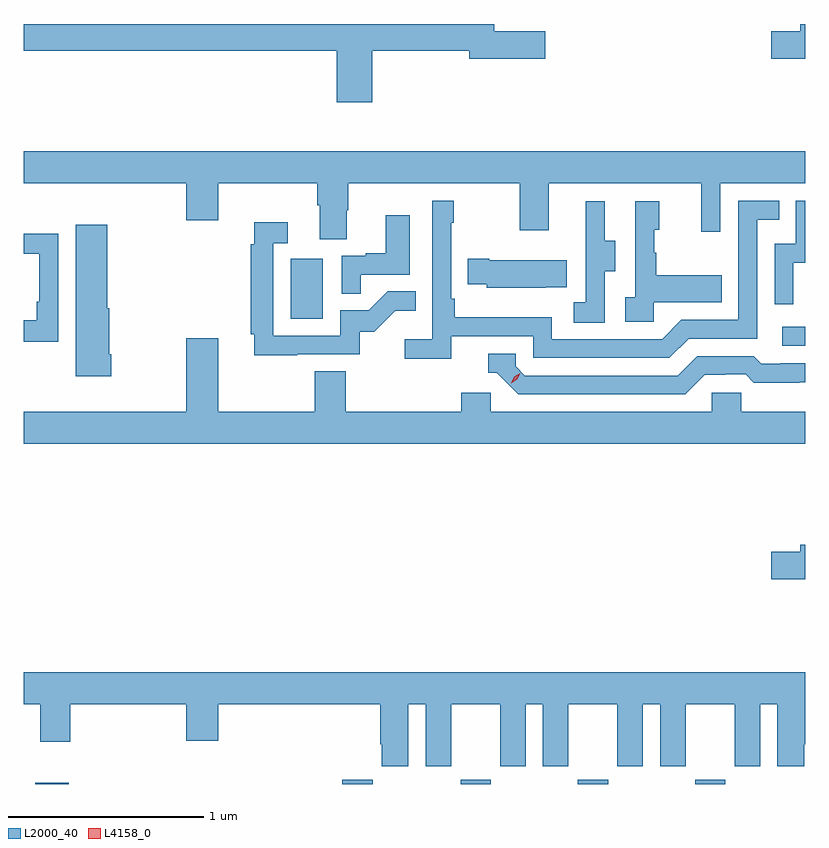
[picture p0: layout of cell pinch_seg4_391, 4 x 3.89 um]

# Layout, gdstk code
import gdstk
lib = gdstk.Library(unit=1e-6, precision=1e-09)
def R(c, l, rs):  # rectangles x0, y0, x1, y1
    for r in rs: c.add(gdstk.rectangle(r[:2], r[2:], *l))
def A(c, l, x, y, w, h, nx, ny, dx, dy):  # array of equal rectangles
    R(c, l, [(x+i*dx, y+j*dy, x+i*dx+w, y+j*dy+h) for i in range(nx) for j in range(ny)])
def P(c, l, *ps):  # polygons
    for p in ps: c.add(gdstk.Polygon(p, *l))
L2000_40 = (2000, 40)
L4158_0 = (4158, 0)

pinch_seg4_391 = lib.new_cell('pinch_seg4_391')
A(pinch_seg4_391, L2000_40, 957.619, 781.759, 0.155, 0.021, 3, 1, 0.6, 0)
R(pinch_seg4_391, L2000_40, [(955.442,781.759,955.613,781.765), (957.014,781.759,957.169,781.78), (959.265,784.002,959.383,784.098), (956.75,784.14,956.914,784.447)])
P(pinch_seg4_391, L2000_40, [(959.383,785.648),(959.357,785.648),(959.357,785.612),(959.208,785.612),(959.208,785.47),(959.383,785.47)],
  [(957.167,785.512),(957.662,785.512),(957.662,785.47),(958.051,785.47),(958.051,785.612),(957.79,785.612),(957.79,785.648),(955.383,785.648),(955.383,785.512),(956.984,785.512),(956.984,785.247),(957.167,785.247)],
  [(957.037,784.695),(957.045,784.695),(957.045,784.832),(957.922,784.832),(957.922,784.593),(958.069,784.593),(958.069,784.832),(958.85,784.832),(958.85,784.584),(958.947,784.584),(958.947,784.832),(959.383,784.832),(959.383,784.996),(955.383,784.996),(955.383,784.832),(956.216,784.832),(956.216,784.644),(956.38,784.644),(956.38,784.832),(956.885,784.832),(956.885,784.72),(956.897,784.72),(956.897,784.546),(957.037,784.546)],
  [(957.572,784.05),(957.99,784.05),(957.99,783.939),(958.687,783.939),(958.786,784.038),(959.136,784.038),(959.136,784.647),(959.249,784.647),(959.249,784.743),(959.04,784.743),(959.04,784.134),(958.749,784.134),(958.65,784.035),(958.086,784.035),(958.086,784.147),(957.59,784.147),(957.59,784.243),(957.57,784.243),(957.57,784.631),(957.583,784.631),(957.583,784.744),(957.474,784.744),(957.474,784.036),(957.333,784.036),(957.333,783.934),(957.572,783.934)],
  [(959.322,784.427),(959.383,784.427),(959.383,784.743),(959.334,784.743),(959.334,784.524),(959.226,784.524),(959.226,784.215),(959.322,784.215)],
  [(958.608,784.223),(958.955,784.223),(958.955,784.363),(958.621,784.363),(958.621,784.478),(958.611,784.478),(958.611,784.596),(958.636,784.596),(958.636,784.741),(958.512,784.741),(958.512,784.25),(958.461,784.25),(958.461,784.125),(958.608,784.125)],
  [(958.356,784.384),(958.411,784.384),(958.411,784.539),(958.357,784.539),(958.357,784.741),(958.259,784.741),(958.259,784.527),(958.26,784.527),(958.26,784.223),(958.197,784.223),(958.197,784.12),(958.356,784.12)],
  [(957.107,784.365),(957.358,784.365),(957.358,784.669),(957.236,784.669),(957.236,784.474),(957.133,784.474),(957.133,784.461),(957.012,784.461),(957.012,784.267),(957.107,784.267)],
  [(956.783,783.957),(957.102,783.957),(957.102,784.074),(957.178,784.074),(957.285,784.181),(957.389,784.181),(957.389,784.28),(957.246,784.28),(957.148,784.182),(957.003,784.182),(957.003,784.053),(956.661,784.053),(956.661,784.527),(956.734,784.527),(956.734,784.633),(956.564,784.633),(956.564,784.52),(956.545,784.52),(956.545,784.06),(956.564,784.06),(956.564,783.952),(956.783,783.952)],
  [(955.83,783.958),(955.822,783.958),(955.822,784.194),(955.81,784.194),(955.81,784.621),(955.649,784.621),(955.649,783.846),(955.83,783.846)],
  [(955.56,784.574),(955.383,784.574),(955.383,784.473),(955.464,784.473),(955.464,784.228),(955.451,784.228),(955.451,784.132),(955.383,784.132),(955.383,784.023),(955.56,784.023)],
  [(958.055,784.301),(958.163,784.301),(958.163,784.438),(957.766,784.438),(957.766,784.446),(957.655,784.446),(957.655,784.316),(957.753,784.316),(957.753,784.298),(958.055,784.298)],
  [(959.383,783.664),(959.055,783.664),(959.055,783.762),(958.905,783.762),(958.905,783.664),(957.774,783.664),(957.774,783.762),(957.623,783.762),(957.623,783.664),(957.032,783.664),(957.032,783.872),(956.872,783.872),(956.872,783.664),(956.38,783.664),(956.38,784.039),(956.216,784.039),(956.216,783.664),(955.383,783.664),(955.383,783.5),(959.383,783.5)],
  [(958.867,783.852),(958.974,783.852),(958.974,783.855),(959.077,783.855),(959.119,783.813),(959.352,783.813),(959.352,783.815),(959.383,783.815),(959.383,783.912),(959.257,783.912),(959.257,783.909),(959.158,783.909),(959.119,783.948),(958.83,783.948),(958.731,783.849),(957.948,783.849),(957.9,783.897),(957.9,783.96),(957.761,783.96),(957.761,783.864),(957.804,783.864),(957.915,783.753),(958.768,783.753)],
  [(959.383,782.984),(959.357,782.984),(959.357,782.948),(959.208,782.948),(959.208,782.806),(959.383,782.806)],
  [(957.352,782.168),(957.44,782.168),(957.44,781.851),(957.571,781.851),(957.571,782.168),(957.821,782.168),(957.821,781.851),(957.952,781.851),(957.952,782.168),(958.04,782.168),(958.04,781.851),(958.171,781.851),(958.171,782.168),(958.421,782.168),(958.421,781.851),(958.552,781.851),(958.552,782.168),(958.64,782.168),(958.64,781.851),(958.771,781.851),(958.771,782.168),(959.021,782.168),(959.021,781.851),(959.152,781.851),(959.152,782.168),(959.24,782.168),(959.24,781.851),(959.377,781.851),(959.377,781.963),(959.383,781.963),(959.383,782.332),(955.383,782.332),(955.383,782.168),(955.469,782.168),(955.469,781.974),(955.622,781.974),(955.622,782.168),(956.216,782.168),(956.216,781.98),(956.38,781.98),(956.38,782.168),(957.209,782.168),(957.209,781.963),(957.215,781.963),(957.215,781.851),(957.352,781.851)])
P(pinch_seg4_391, L4158_0, [(957.878,783.81),(957.878,783.811),(957.894,783.843),(957.925,783.862),(957.925,783.862),(957.925,783.862),(957.909,783.829),(957.878,783.81)])

lib.write_gds('pinch_seg4_391.gds')
